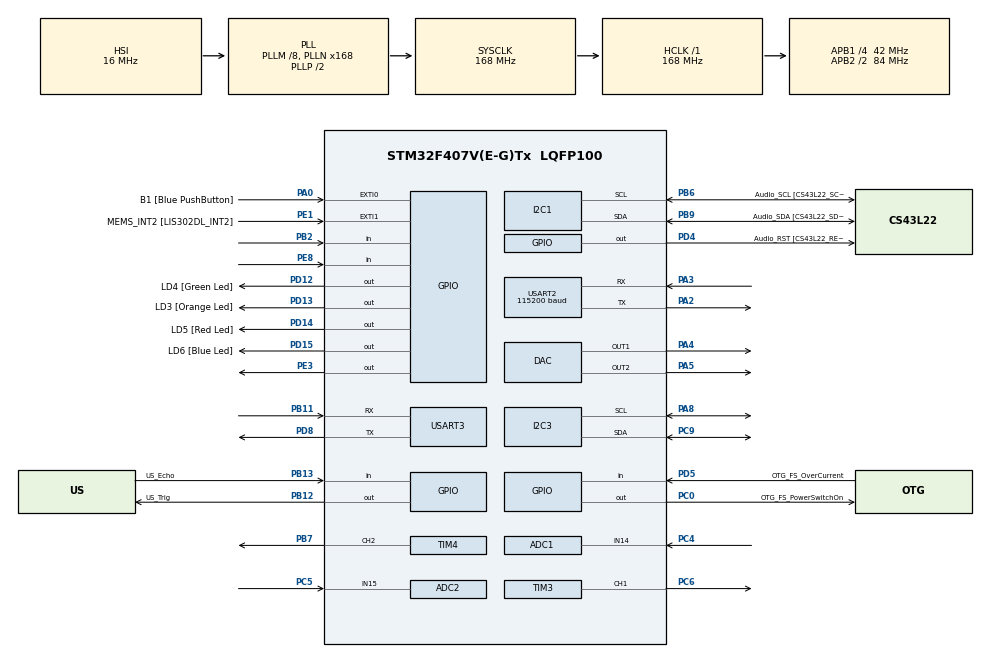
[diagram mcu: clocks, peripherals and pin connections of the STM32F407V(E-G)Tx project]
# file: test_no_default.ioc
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ADC1.Channel-2\#ChannelRegularConversion=ADC_CHANNEL_14
ADC1.ClockPrescaler=ADC_CLOCK_SYNC_PCLK_DIV4
ADC1.NbrOfConversionFlag=1
ADC1.Rank-2\#ChannelRegularConversion=1
ADC1.SamplingTime-2\#ChannelRegularConversion=ADC_SAMPLETIME_3CYCLES
ADC1.master=1
ADC2.Channel-0\#ChannelRegularConversion=ADC_CHANNEL_15
ADC2.ClockPrescaler=ADC_CLOCK_SYNC_PCLK_DIV4
ADC2.NbrOfConversionFlag=1
ADC2.Rank-0\#ChannelRegularConversion=1
ADC2.SamplingTime-0\#ChannelRegularConversion=ADC_SAMPLETIME_3CYCLES
I2C3.DualAddressMode=I2C_DUALADDRESS_DISABLE
I2C3.GeneralCallMode=I2C_GENERALCALL_ENABLE
I2C3.I2C_Mode=I2C_Fast
I2C3.NoStretchMode=I2C_NOSTRETCH_DISABLE
I2C3.OwnAddress=0x10
Mcu.Family=STM32F4
Mcu.Name=STM32F407V(E-G)Tx
Mcu.Package=LQFP100
NVIC.PriorityGroup=NVIC_PRIORITYGROUP_4
PA0-WKUP.GPIO_Label=B1 [Blue PushButton]
PA0-WKUP.Signal=GPXTI0
PA10.GPIO_Label=OTG_FS_ID
PA10.GPIO_Mode=GPIO_MODE_AF_PP
PA10.GPIO_PuPd=GPIO_NOPULL
PA10.GPIO_Speed=GPIO_SPEED_FREQ_LOW
PA10.Signal=USB_OTG_FS_ID
PA11.GPIO_Label=OTG_FS_DM
PA11.GPIO_Mode=GPIO_MODE_AF_PP
PA11.GPIO_PuPd=GPIO_NOPULL
PA11.GPIO_Speed=GPIO_SPEED_FREQ_LOW
PA11.Signal=USB_OTG_FS_DM
PA12.GPIO_Label=OTG_FS_DP
PA12.GPIO_Mode=GPIO_MODE_AF_PP
PA12.GPIO_PuPd=GPIO_NOPULL
PA12.GPIO_Speed=GPIO_SPEED_FREQ_LOW
PA12.Signal=USB_OTG_FS_DP
PA13.GPIO_Label=SWDIO
PA13.Signal=SYS_JTMS-SWDIO
PA14.GPIO_Label=SWCLK
PA14.Signal=SYS_JTCK-SWCLK
PA2.Mode=Asynchronous
PA2.Signal=USART2_TX
PA3.Mode=Asynchronous
PA3.Signal=USART2_RX
PA4.Signal=COMP_DAC1_group
PA5.Signal=COMP_DAC2_group
PA6.GPIO_Label=SPI1_MISO [LIS302DL_SDO]
PA6.GPIO_Mode=GPIO_MODE_AF_PP
PA6.GPIO_PuPd=GPIO_NOPULL
PA6.GPIO_Speed=GPIO_SPEED_FREQ_LOW
PA6.Signal=SPI1_MISO
PA7.GPIO_Label=SPI1_MOSI [LIS302DL_SDA/SDI/SDO]
PA7.GPIO_Mode=GPIO_MODE_AF_PP
PA7.GPIO_PuPd=GPIO_NOPULL
PA7.GPIO_Speed=GPIO_SPEED_FREQ_LOW
PA7.Signal=SPI1_MOSI
PA8.Mode=I2C
PA8.Signal=I2C3_SCL
PA9.GPIO_Label=VBUS_FS
PA9.GPIO_Mode=GPIO_MODE_INPUT
PA9.GPIO_PuPd=GPIO_NOPULL
PA9.Signal=USB_OTG_FS_VBUS
PB10.GPIO_Label=CLK_IN [MP45DT02_CLK]
PB10.GPIO_Mode=GPIO_MODE_AF_PP
PB10.GPIO_PuPd=GPIO_NOPULL
PB10.GPIO_Speed=GPIO_SPEED_FREQ_LOW
PB10.Signal=I2S2_CK
PB11.Mode=Asynchronous
PB11.Signal=USART3_RX
PB12.GPIO_Label=US_Trig
PB12.Signal=GPIO_Output
PB13.GPIO_Label=US_Echo
PB13.Signal=GPIO_Input
PB2.Signal=GPIO_Input
PB3.GPIO_Label=SWO
PB3.Signal=SYS_JTDO-SWO
PB6.GPIO_Label=Audio_SCL [CS43L22_SCL]
PB6.GPIO_Mode=GPIO_MODE_AF_OD
PB6.GPIO_PuPd=GPIO_NOPULL
PB6.GPIO_Speed=GPIO_SPEED_FREQ_LOW
PB6.Mode=I2C
PB6.Signal=I2C1_SCL
PB7.Signal=S_TIM4_CH2
PB9.GPIO_Label=Audio_SDA [CS43L22_SDA]
PB9.GPIO_Mode=GPIO_MODE_AF_OD
PB9.GPIO_PuPd=GPIO_NOPULL
PB9.GPIO_Speed=GPIO_SPEED_FREQ_LOW
PB9.Mode=I2C
PB9.Signal=I2C1_SDA
PC0.GPIO_Label=OTG_FS_PowerSwitchOn
PC0.GPIO_PuPd=GPIO_NOPULL
PC0.GPIO_Speed=GPIO_SPEED_FREQ_LOW
PC0.PinState=GPIO_PIN_SET
PC0.Signal=GPIO_Output
PC10.GPIO_Label=I2S3_SCK [CS43L22_SCLK]
PC10.GPIO_Mode=GPIO_MODE_AF_PP
PC10.GPIO_PuPd=GPIO_NOPULL
PC10.GPIO_Speed=GPIO_SPEED_FREQ_LOW
PC10.Signal=I2S3_CK
PC12.GPIO_Label=I2S3_SD [CS43L22_SDIN]
PC12.GPIO_Mode=GPIO_MODE_AF_PP
PC12.GPIO_PuPd=GPIO_NOPULL
PC12.GPIO_Speed=GPIO_SPEED_FREQ_LOW
PC12.Signal=I2S3_SD
PC14-OSC32_IN.GPIO_Label=PC14-OSC32_IN
PC14-OSC32_IN.Signal=RCC_OSC32_IN
PC15-OSC32_OUT.GPIO_Label=PC15-OSC32_OUT
PC15-OSC32_OUT.Signal=RCC_OSC32_OUT
PC3.GPIO_Label=PDM_OUT [MP45DT02_DOUT]
PC3.GPIO_Mode=GPIO_MODE_AF_PP
PC3.GPIO_PuPd=GPIO_NOPULL
PC3.GPIO_Speed=GPIO_SPEED_FREQ_LOW
PC3.Signal=I2S2_SD
PC4.Signal=ADCx_IN14
PC5.Signal=ADCx_IN15
PC6.Signal=S_TIM3_CH1
PC7.GPIO_Label=I2S3_MCK [CS43L22_MCLK]
PC7.GPIO_Mode=GPIO_MODE_AF_PP
PC7.GPIO_PuPd=GPIO_NOPULL
PC7.GPIO_Speed=GPIO_SPEED_FREQ_LOW
PC7.Signal=I2S3_MCK
PC9.Mode=I2C
PC9.Signal=I2C3_SDA
PD12.GPIO_Label=LD4 [Green Led]
PD12.GPIO_PuPd=GPIO_NOPULL
PD12.GPIO_Speed=GPIO_SPEED_FREQ_LOW
PD12.Signal=GPIO_Output
PD13.GPIO_Label=LD3 [Orange Led]
PD13.GPIO_PuPd=GPIO_NOPULL
PD13.GPIO_Speed=GPIO_SPEED_FREQ_LOW
PD13.Signal=GPIO_Output
PD14.GPIO_Label=LD5 [Red Led]
PD14.GPIO_PuPd=GPIO_NOPULL
PD14.GPIO_Speed=GPIO_SPEED_FREQ_LOW
PD14.Signal=GPIO_Output
PD15.GPIO_Label=LD6 [Blue Led]
PD15.GPIO_PuPd=GPIO_NOPULL
PD15.GPIO_Speed=GPIO_SPEED_FREQ_LOW
PD15.Signal=GPIO_Output
PD4.GPIO_Label=Audio_RST [CS43L22_RESET]
PD4.GPIO_PuPd=GPIO_NOPULL
PD4.GPIO_Speed=GPIO_SPEED_FREQ_LOW
PD4.Signal=GPIO_Output
PD5.GPIO_Label=OTG_FS_OverCurrent
PD5.GPIO_Mode=GPIO_MODE_INPUT
PD5.GPIO_PuPd=GPIO_NOPULL
PD5.Signal=GPIO_Input
PD8.Mode=Asynchronous
PD8.Signal=USART3_TX
PE1.GPIO_Label=MEMS_INT2 [LIS302DL_INT2]
PE1.GPIO_ModeDefaultEXTI=GPIO_MODE_EVT_RISING
PE1.GPIO_PuPd=GPIO_NOPULL
PE1.Signal=GPXTI1
PE3.Signal=GPIO_Output
PE8.GPIO_PuPd=GPIO_PULLDOWN
PE8.Signal=GPIO_Input
PH0-OSC_IN.GPIO_Label=PH0-OSC_IN
PH0-OSC_IN.Signal=RCC_OSC_IN
PH1-OSC_OUT.GPIO_Label=PH1-OSC_OUT
PH1-OSC_OUT.Signal=RCC_OSC_OUT
ProjectManager.HeapSize=0x200
ProjectManager.StackSize=0x400
ProjectManager.TargetToolchain=STM32CubeIDE
RCC.48MHZClocksFreq_Value=48000000
RCC.AHBFreq_Value=168000000
RCC.APB1CLKDivider=RCC_HCLK_DIV4
RCC.APB1Freq_Value=42000000
RCC.APB1TimFreq_Value=84000000
RCC.APB2CLKDivider=RCC_HCLK_DIV2
RCC.APB2Freq_Value=84000000
RCC.APB2TimFreq_Value=168000000
RCC.CortexFreq_Value=168000000
RCC.HCLKFreq_Value=168000000
RCC.HSE_VALUE=8000000
RCC.HSI_VALUE=16000000
RCC.LSE_VALUE=32768
RCC.PLLM=8
RCC.PLLN=168
RCC.PLLQ=7
RCC.SYSCLKFreq_VALUE=168000000
RCC.SYSCLKSource=RCC_SYSCLKSOURCE_PLLCLK
RCC.VCOOutputFreq_Value=336000000
SH.ADCx_IN14.0=ADC1_IN14,IN14
SH.ADCx_IN15.0=ADC2_IN15,IN15
SH.COMP_DAC1_group.0=DAC_OUT1,DAC_OUT1
SH.COMP_DAC2_group.0=DAC_OUT2,DAC_OUT2
SH.S_TIM3_CH1.0=TIM3_CH1,PWM Generation1 CH1
SH.S_TIM4_CH2.0=TIM4_CH2,PWM Generation2 CH2
TIM1.Period=65535
TIM1.Prescaler=168
TIM3.Channel-PWM\ Generation1\ CH1=TIM_CHANNEL_1
TIM3.Period=100
TIM3.Prescaler=80
TIM4.Channel-PWM\ Generation2\ CH2=TIM_CHANNEL_2
TIM4.Period=100
TIM4.Prescaler=12
USART2.BaudRate=115200
USART2.VirtualMode=VM_ASYNC
USART3.VirtualMode=VM_ASYNC
VP_TIM1_VS_ClockSourceINT.Mode=Internal
VP_TIM3_VS_ClockSourceINT.Mode=Internal
VP_TIM4_VS_ClockSourceINT.Mode=Internal
board=STM32F407G-DISC1

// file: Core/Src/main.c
/* USER CODE BEGIN Header */
/**
  ******************************************************************************
  * @file           : main.c
  * @brief          : Main program body
  ******************************************************************************
  * @attention
  *
  * <h2><center>&copy; Copyright (c) 2020 STMicroelectronics.
  * All rights reserved.</center></h2>
  *
  * This software component is licensed by ST under BSD 3-Clause license,
  * the "License"; You may not use this file except in compliance with the
  * License. You may obtain a copy of the License at:
  *                        opensource.org/licenses/BSD-3-Clause
  *
  ******************************************************************************
  */
/* USER CODE END Header */

#include "main.h"

/* USER CODE BEGIN Includes */
#include <string.h>
#include <stdio.h>
/* USER CODE END Includes */

/* USER CODE BEGIN PD */
// ADC
#define ADC_MAX 4096
#define ADC_MIN 0
// PWM (stick)
#define PWM_DUTY_MAX 100
#define STICK_Y_MID 2152
#define STICK_X_MID 2033
#define STICK_MARGIN 250
// H-Bridge GPIOs
#define BRIDGE_GPIO GPIOD
#define BRIDGE_PIN_1 GPIO_PIN_12
#define BRIDGE_PIN_2 GPIO_PIN_13
#define BRIDGE_PIN_3 GPIO_PIN_14
#define BRIDGE_PIN_4 GPIO_PIN_15
/* USER CODE END PD */

ADC_HandleTypeDef hadc1;
ADC_HandleTypeDef hadc2;

DAC_HandleTypeDef hdac;

I2C_HandleTypeDef hi2c1;
I2C_HandleTypeDef hi2c3;

TIM_HandleTypeDef htim1;
TIM_HandleTypeDef htim3;
TIM_HandleTypeDef htim4;

UART_HandleTypeDef huart2;
UART_HandleTypeDef huart3;

/* USER CODE BEGIN PV */
static uint16_t ADC_1, ADC_2; // ADC values
static uint16_t PWM_1, PWM_2; // PWM values (range 0 - 99)
static GPIO_PinState
    BRIDGE_PIN_1_State, BRIDGE_PIN_2_State, BRIDGE_PIN_3_State, BRIDGE_PIN_4_State;
static ESTOP_State Estop;
GPIO_PinState button_state;
/* USER CODE END PV */

void SystemClock_Config(void);
static void MX_GPIO_Init(void);
static void MX_ADC1_Init(void);
static void MX_USART2_UART_Init(void);
static void MX_ADC2_Init(void);
static void MX_I2C1_Init(void);
static void MX_DAC_Init(void);
static void MX_I2C3_Init(void);
static void MX_TIM3_Init(void);
static void MX_TIM4_Init(void);
static void MX_USART3_UART_Init(void);
static void MX_TIM1_Init(void);
/* USER CODE BEGIN PFP */
static void Blink(void);
static uint16_t ADC_Read(ADC_HandleTypeDef*);
static void driving(void);
static void forward(void);
static void backward(void);
static void stop(void);
static void clockwise(void);
static void counterclockwise(void);
static void Delay_us(uint16_t);
static void Reset_Timer_us();
static uint16_t Get_Timer_us();
/* USER CODE END PFP */

/* USER CODE BEGIN 0 */
// FOR DEBUGGING
int CASE;
bool voice = false;
/* USER CODE END 0 */

int main(void)
{
  /* USER CODE BEGIN 1 */
  char msg[30];
  //char msg_1[30]; // for message1
  //char msg_2[30]; // for message2
  //char msg_3[30]; // for message3
  //uint8_t msg_4[30]; // for message4
  //uint8_t cmd[1]; // UART receive cmd

  //bool voice = false;
  /* USER CODE END 1 */

  /* MCU Configuration--------------------------------------------------------*/

  /* Reset of all peripherals, Initializes the Flash interface and the Systick. */
  HAL_Init();

  /* Configure the system clock */
  SystemClock_Config();

  /* Initialize all configured peripherals */
  MX_GPIO_Init();
  MX_ADC1_Init();
  MX_USART2_UART_Init();
  MX_ADC2_Init();
  MX_I2C1_Init();
  MX_DAC_Init();
  MX_I2C3_Init();
  MX_TIM3_Init();
  MX_TIM4_Init();
  MX_USART3_UART_Init();
  MX_TIM1_Init();

  /* Infinite loop */
  /* USER CODE BEGIN WHILE */
  // Start TIM1 (for us delay)
  HAL_TIM_Base_Start(&htim1);

  // Start PWMs
  HAL_TIM_PWM_Start (&htim3, TIM_CHANNEL_1);
  HAL_TIM_PWM_Start (&htim4, TIM_CHANNEL_2);
  while (1)
  {
    uint16_t count;
    uint16_t distance;
    HAL_GPIO_WritePin(GPIOB, US_Trig_Pin, GPIO_PIN_SET);
    Delay_us(10);
    HAL_GPIO_WritePin(GPIOB, US_Trig_Pin, GPIO_PIN_RESET);

    while (HAL_GPIO_ReadPin(GPIOB, US_Echo_Pin) == GPIO_PIN_RESET);
    Reset_Timer_us();
    while ((HAL_GPIO_ReadPin(GPIOB, US_Echo_Pin) == GPIO_PIN_SET) && (Get_Timer_us() < 65535));
    count = Get_Timer_us();
    distance = (float)(0.0343 * count / 2);
    sprintf(msg, "delay = %d us, distance = %d cm\r\n ", count, distance);
    HAL_UART_Transmit(&huart2, (uint8_t*)msg, strlen(msg), HAL_MAX_DELAY);
    HAL_Delay(1000);

    /*
    // Determine driving mode
    button_state = HAL_GPIO_ReadPin(GPIOE, GPIO_PIN_8);
    if (button_state == GPIO_PIN_SET)
    {
      voice = !voice;
    }
//     I2C slave receive
//    HAL_I2C_Slave_Receive (&hi2c3, msg_4, 1, HAL_MAX_DELAY);

    if (!voice)
    {
      // Read ADC value
      ADC_1 = ADC_Read(&hadc1);
      ADC_2 = ADC_Read(&hadc2);

      // Motor controlling logics
      driving();
      HAL_Delay(100);
    }
    else
    {
      HAL_UART_Receive (&huart3, (uint8_t*)cmd, 1, HAL_MAX_DELAY); // receiving message from pi
      if (cmd[0] =='f')
      {
        forward();
      }
      else if (cmd[0] == 'b')
      {
        backward();
      }
      else if (cmd[0] == 'l')
      {
        counterclockwise();
      }
      else if (cmd[0] == 'r')
      {
        clockwise();
      }
      else
      {
        stop();
      }
      PWM_1 = 25;
      PWM_2 = 25;
      // updating GPIO value
      HAL_GPIO_WritePin(BRIDGE_GPIO, BRIDGE_PIN_1, BRIDGE_PIN_1_State);
      HAL_GPIO_WritePin(BRIDGE_GPIO, BRIDGE_PIN_2, BRIDGE_PIN_2_State);
      HAL_GPIO_WritePin(BRIDGE_GPIO, BRIDGE_PIN_3, BRIDGE_PIN_3_State);
      HAL_GPIO_WritePin(BRIDGE_GPIO, BRIDGE_PIN_4, BRIDGE_PIN_4_State);
      // updating PWM value
      __HAL_TIM_SET_COMPARE(&htim3, TIM_CHANNEL_1, PWM_1);
      __HAL_TIM_SET_COMPARE(&htim4, TIM_CHANNEL_2, PWM_2);
    }

    // UART transmit debugging messages
    //sprintf(msg_1, "ADC1 = %hu, ADC2 = %hu\r\n", ADC_1, ADC_2);
    //sprintf(msg_2, "PWM1 = %hu, PWM2 = %hu\r\n", PWM_1, PWM_2);
    //sprintf(msg_3, "CASE = %d\r\n\r\n", CASE);
    //HAL_UART_Transmit(&huart2, (uint8_t*)msg_1, strlen(msg_1), HAL_MAX_DELAY);
    //HAL_UART_Transmit(&huart2, (uint8_t*)msg_2, strlen(msg_2), HAL_MAX_DELAY);
    //HAL_UART_Transmit(&huart2, (uint8_t*)msg_3, strlen(msg_3), HAL_MAX_DELAY);
    //HAL_UART_Transmit(&huart2, (uint8_t*)msg_4, strlen(msg_4), HAL_MAX_DELAY);
    //HAL_UART_Receive (&huart3, (uint8_t*)msg_5, 1, HAL_MAX_DELAY); // receiving message from pi
    //HAL_UART_Receive (&huart2, (uint8_t*)msg_5, 4, 1); // bluetooth debugging
    //printf("%s\r\n", msg_5);
    //HAL_UART_Transmit(&huart2, (uint8_t*)msg_5, 4, 1); // bluetooth debugging

    // I2C transmit debugging messages
    // HAL_I2C_Slave_Transmit (&hi2c3, (uint8_t*)msg_1, strlen(msg_1), HAL_MAX_DELAY);

    // Delay
    //HAL_Delay(100);

    /* USER CODE END WHILE */

  }
}

void SystemClock_Config(void)
{
  RCC_OscInitTypeDef RCC_OscInitStruct = {0};
  RCC_ClkInitTypeDef RCC_ClkInitStruct = {0};

  /** Configure the main internal regulator output voltage
  */
  __HAL_RCC_PWR_CLK_ENABLE();
  __HAL_PWR_VOLTAGESCALING_CONFIG(PWR_REGULATOR_VOLTAGE_SCALE1);
  /** Initializes the CPU, AHB and APB busses clocks
  */
  RCC_OscInitStruct.OscillatorType = RCC_OSCILLATORTYPE_HSI;
  RCC_OscInitStruct.HSIState = RCC_HSI_ON;
  RCC_OscInitStruct.HSICalibrationValue = RCC_HSICALIBRATION_DEFAULT;
  RCC_OscInitStruct.PLL.PLLState = RCC_PLL_ON;
  RCC_OscInitStruct.PLL.PLLSource = RCC_PLLSOURCE_HSI;
  RCC_OscInitStruct.PLL.PLLM = 8;
  RCC_OscInitStruct.PLL.PLLN = 168;
  RCC_OscInitStruct.PLL.PLLP = RCC_PLLP_DIV2;
  RCC_OscInitStruct.PLL.PLLQ = 7;
  if (HAL_RCC_OscConfig(&RCC_OscInitStruct) != HAL_OK)
  {
    Error_Handler();
  }
  /** Initializes the CPU, AHB and APB busses clocks
  */
  RCC_ClkInitStruct.ClockType = RCC_CLOCKTYPE_HCLK|RCC_CLOCKTYPE_SYSCLK
                              |RCC_CLOCKTYPE_PCLK1|RCC_CLOCKTYPE_PCLK2;
  RCC_ClkInitStruct.SYSCLKSource = RCC_SYSCLKSOURCE_PLLCLK;
  RCC_ClkInitStruct.AHBCLKDivider = RCC_SYSCLK_DIV1;
  RCC_ClkInitStruct.APB1CLKDivider = RCC_HCLK_DIV4;
  RCC_ClkInitStruct.APB2CLKDivider = RCC_HCLK_DIV2;

  if (HAL_RCC_ClockConfig(&RCC_ClkInitStruct, FLASH_LATENCY_5) != HAL_OK)
  {
    Error_Handler();
  }
}

static void MX_ADC1_Init(void)
{

  ADC_ChannelConfTypeDef sConfig = {0};

  /** Configure the global features of the ADC (Clock, Resolution, Data Alignment and number of conversion)
  */
  hadc1.Instance = ADC1;
  hadc1.Init.ClockPrescaler = ADC_CLOCK_SYNC_PCLK_DIV4;
  hadc1.Init.Resolution = ADC_RESOLUTION_12B;
  hadc1.Init.ScanConvMode = DISABLE;
  hadc1.Init.ContinuousConvMode = DISABLE;
  hadc1.Init.DiscontinuousConvMode = DISABLE;
  hadc1.Init.ExternalTrigConvEdge = ADC_EXTERNALTRIGCONVEDGE_NONE;
  hadc1.Init.ExternalTrigConv = ADC_SOFTWARE_START;
  hadc1.Init.DataAlign = ADC_DATAALIGN_RIGHT;
  hadc1.Init.NbrOfConversion = 1;
  hadc1.Init.DMAContinuousRequests = DISABLE;
  hadc1.Init.EOCSelection = ADC_EOC_SINGLE_CONV;
  if (HAL_ADC_Init(&hadc1) != HAL_OK)
  {
    Error_Handler();
  }
  /** Configure for the selected ADC regular channel its corresponding rank in the sequencer and its sample time.
  */
  sConfig.Channel = ADC_CHANNEL_14;
  sConfig.Rank = 1;
  sConfig.SamplingTime = ADC_SAMPLETIME_3CYCLES;
  if (HAL_ADC_ConfigChannel(&hadc1, &sConfig) != HAL_OK)
  {
    Error_Handler();
  }

}

static void MX_ADC2_Init(void)
{

  ADC_ChannelConfTypeDef sConfig = {0};

  /** Configure the global features of the ADC (Clock, Resolution, Data Alignment and number of conversion)
  */
  hadc2.Instance = ADC2;
  hadc2.Init.ClockPrescaler = ADC_CLOCK_SYNC_PCLK_DIV4;
  hadc2.Init.Resolution = ADC_RESOLUTION_12B;
  hadc2.Init.ScanConvMode = DISABLE;
  hadc2.Init.ContinuousConvMode = DISABLE;
  hadc2.Init.DiscontinuousConvMode = DISABLE;
  hadc2.Init.ExternalTrigConvEdge = ADC_EXTERNALTRIGCONVEDGE_NONE;
  hadc2.Init.ExternalTrigConv = ADC_SOFTWARE_START;
  hadc2.Init.DataAlign = ADC_DATAALIGN_RIGHT;
  hadc2.Init.NbrOfConversion = 1;
  hadc2.Init.DMAContinuousRequests = DISABLE;
  hadc2.Init.EOCSelection = ADC_EOC_SINGLE_CONV;
  if (HAL_ADC_Init(&hadc2) != HAL_OK)
  {
    Error_Handler();
  }
  /** Configure for the selected ADC regular channel its corresponding rank in the sequencer and its sample time.
  */
  sConfig.Channel = ADC_CHANNEL_15;
  sConfig.Rank = 1;
  sConfig.SamplingTime = ADC_SAMPLETIME_3CYCLES;
  if (HAL_ADC_ConfigChannel(&hadc2, &sConfig) != HAL_OK)
  {
    Error_Handler();
  }

}

static void MX_DAC_Init(void)
{

  DAC_ChannelConfTypeDef sConfig = {0};

  /** DAC Initialization
  */
  hdac.Instance = DAC;
  if (HAL_DAC_Init(&hdac) != HAL_OK)
  {
    Error_Handler();
  }
  /** DAC channel OUT1 config
  */
  sConfig.DAC_Trigger = DAC_TRIGGER_NONE;
  sConfig.DAC_OutputBuffer = DAC_OUTPUTBUFFER_ENABLE;
  if (HAL_DAC_ConfigChannel(&hdac, &sConfig, DAC_CHANNEL_1) != HAL_OK)
  {
    Error_Handler();
  }
  /** DAC channel OUT2 config
  */
  if (HAL_DAC_ConfigChannel(&hdac, &sConfig, DAC_CHANNEL_2) != HAL_OK)
  {
    Error_Handler();
  }

}

static void MX_I2C1_Init(void)
{

  hi2c1.Instance = I2C1;
  hi2c1.Init.ClockSpeed = 100000;
  hi2c1.Init.DutyCycle = I2C_DUTYCYCLE_2;
  hi2c1.Init.OwnAddress1 = 0;
  hi2c1.Init.AddressingMode = I2C_ADDRESSINGMODE_7BIT;
  hi2c1.Init.DualAddressMode = I2C_DUALADDRESS_DISABLE;
  hi2c1.Init.OwnAddress2 = 0;
  hi2c1.Init.GeneralCallMode = I2C_GENERALCALL_DISABLE;
  hi2c1.Init.NoStretchMode = I2C_NOSTRETCH_DISABLE;
  if (HAL_I2C_Init(&hi2c1) != HAL_OK)
  {
    Error_Handler();
  }

}

static void MX_I2C3_Init(void)
{

  hi2c3.Instance = I2C3;
  hi2c3.Init.ClockSpeed = 400000;
  hi2c3.Init.DutyCycle = I2C_DUTYCYCLE_2;
  hi2c3.Init.OwnAddress1 = 32;
  hi2c3.Init.AddressingMode = I2C_ADDRESSINGMODE_7BIT;
  hi2c3.Init.DualAddressMode = I2C_DUALADDRESS_DISABLE;
  hi2c3.Init.OwnAddress2 = 0;
  hi2c3.Init.GeneralCallMode = I2C_GENERALCALL_ENABLE;
  hi2c3.Init.NoStretchMode = I2C_NOSTRETCH_DISABLE;
  if (HAL_I2C_Init(&hi2c3) != HAL_OK)
  {
    Error_Handler();
  }

}

static void MX_TIM1_Init(void)
{

  TIM_ClockConfigTypeDef sClockSourceConfig = {0};
  TIM_MasterConfigTypeDef sMasterConfig = {0};

  htim1.Instance = TIM1;
  htim1.Init.Prescaler = 168;
  htim1.Init.CounterMode = TIM_COUNTERMODE_UP;
  htim1.Init.Period = 65535;
  htim1.Init.ClockDivision = TIM_CLOCKDIVISION_DIV1;
  htim1.Init.RepetitionCounter = 0;
  htim1.Init.AutoReloadPreload = TIM_AUTORELOAD_PRELOAD_DISABLE;
  if (HAL_TIM_Base_Init(&htim1) != HAL_OK)
  {
    Error_Handler();
  }
  sClockSourceConfig.ClockSource = TIM_CLOCKSOURCE_INTERNAL;
  if (HAL_TIM_ConfigClockSource(&htim1, &sClockSourceConfig) != HAL_OK)
  {
    Error_Handler();
  }
  sMasterConfig.MasterOutputTrigger = TIM_TRGO_RESET;
  sMasterConfig.MasterSlaveMode = TIM_MASTERSLAVEMODE_DISABLE;
  if (HAL_TIMEx_MasterConfigSynchronization(&htim1, &sMasterConfig) != HAL_OK)
  {
    Error_Handler();
  }

}

static void MX_TIM3_Init(void)
{

  TIM_ClockConfigTypeDef sClockSourceConfig = {0};
  TIM_MasterConfigTypeDef sMasterConfig = {0};
  TIM_OC_InitTypeDef sConfigOC = {0};

  htim3.Instance = TIM3;
  htim3.Init.Prescaler = 80;
  htim3.Init.CounterMode = TIM_COUNTERMODE_UP;
  htim3.Init.Period = 100;
  htim3.Init.ClockDivision = TIM_CLOCKDIVISION_DIV1;
  htim3.Init.AutoReloadPreload = TIM_AUTORELOAD_PRELOAD_DISABLE;
  if (HAL_TIM_Base_Init(&htim3) != HAL_OK)
  {
    Error_Handler();
  }
  sClockSourceConfig.ClockSource = TIM_CLOCKSOURCE_INTERNAL;
  if (HAL_TIM_ConfigClockSource(&htim3, &sClockSourceConfig) != HAL_OK)
  {
    Error_Handler();
  }
  if (HAL_TIM_PWM_Init(&htim3) != HAL_OK)
  {
    Error_Handler();
  }
  sMasterConfig.MasterOutputTrigger = TIM_TRGO_RESET;
  sMasterConfig.MasterSlaveMode = TIM_MASTERSLAVEMODE_DISABLE;
  if (HAL_TIMEx_MasterConfigSynchronization(&htim3, &sMasterConfig) != HAL_OK)
  {
    Error_Handler();
  }
  sConfigOC.OCMode = TIM_OCMODE_PWM1;
  sConfigOC.Pulse = 0;
  sConfigOC.OCPolarity = TIM_OCPOLARITY_HIGH;
  sConfigOC.OCFastMode = TIM_OCFAST_DISABLE;
  if (HAL_TIM_PWM_ConfigChannel(&htim3, &sConfigOC, TIM_CHANNEL_1) != HAL_OK)
  {
    Error_Handler();
  }
  HAL_TIM_MspPostInit(&htim3);

}

static void MX_TIM4_Init(void)
{

  TIM_ClockConfigTypeDef sClockSourceConfig = {0};
  TIM_MasterConfigTypeDef sMasterConfig = {0};
  TIM_OC_InitTypeDef sConfigOC = {0};

  htim4.Instance = TIM4;
  htim4.Init.Prescaler = 12;
  htim4.Init.CounterMode = TIM_COUNTERMODE_UP;
  htim4.Init.Period = 100;
  htim4.Init.ClockDivision = TIM_CLOCKDIVISION_DIV1;
  htim4.Init.AutoReloadPreload = TIM_AUTORELOAD_PRELOAD_DISABLE;
  if (HAL_TIM_Base_Init(&htim4) != HAL_OK)
  {
    Error_Handler();
  }
  sClockSourceConfig.ClockSource = TIM_CLOCKSOURCE_INTERNAL;
  if (HAL_TIM_ConfigClockSource(&htim4, &sClockSourceConfig) != HAL_OK)
  {
    Error_Handler();
  }
  if (HAL_TIM_PWM_Init(&htim4) != HAL_OK)
  {
    Error_Handler();
  }
  sMasterConfig.MasterOutputTrigger = TIM_TRGO_RESET;
  sMasterConfig.MasterSlaveMode = TIM_MASTERSLAVEMODE_DISABLE;
  if (HAL_TIMEx_MasterConfigSynchronization(&htim4, &sMasterConfig) != HAL_OK)
  {
    Error_Handler();
  }
  sConfigOC.OCMode = TIM_OCMODE_PWM1;
  sConfigOC.Pulse = 0;
  sConfigOC.OCPolarity = TIM_OCPOLARITY_HIGH;
  sConfigOC.OCFastMode = TIM_OCFAST_DISABLE;
  if (HAL_TIM_PWM_ConfigChannel(&htim4, &sConfigOC, TIM_CHANNEL_2) != HAL_OK)
  {
    Error_Handler();
  }
  HAL_TIM_MspPostInit(&htim4);

}

static void MX_USART2_UART_Init(void)
{

  huart2.Instance = USART2;
  huart2.Init.BaudRate = 115200;
  huart2.Init.WordLength = UART_WORDLENGTH_8B;
  huart2.Init.StopBits = UART_STOPBITS_1;
  huart2.Init.Parity = UART_PARITY_NONE;
  huart2.Init.Mode = UART_MODE_TX_RX;
  huart2.Init.HwFlowCtl = UART_HWCONTROL_NONE;
  huart2.Init.OverSampling = UART_OVERSAMPLING_16;
  if (HAL_UART_Init(&huart2) != HAL_OK)
  {
    Error_Handler();
  }

}

static void MX_USART3_UART_Init(void)
{

  huart3.Instance = USART3;
  huart3.Init.BaudRate = 115200;
  huart3.Init.WordLength = UART_WORDLENGTH_8B;
  huart3.Init.StopBits = UART_STOPBITS_1;
  huart3.Init.Parity = UART_PARITY_NONE;
  huart3.Init.Mode = UART_MODE_TX_RX;
  huart3.Init.HwFlowCtl = UART_HWCONTROL_NONE;
  huart3.Init.OverSampling = UART_OVERSAMPLING_16;
  if (HAL_UART_Init(&huart3) != HAL_OK)
  {
    Error_Handler();
  }

}

static void MX_GPIO_Init(void)
{
  GPIO_InitTypeDef GPIO_InitStruct = {0};

  /* GPIO Ports Clock Enable */
  __HAL_RCC_GPIOE_CLK_ENABLE();
  __HAL_RCC_GPIOC_CLK_ENABLE();
  __HAL_RCC_GPIOH_CLK_ENABLE();
  __HAL_RCC_GPIOA_CLK_ENABLE();
  __HAL_RCC_GPIOB_CLK_ENABLE();
  __HAL_RCC_GPIOD_CLK_ENABLE();

  /*Configure GPIO pin Output Level */
  HAL_GPIO_WritePin(GPIOE, GPIO_PIN_3, GPIO_PIN_RESET);

  /*Configure GPIO pin Output Level */
  HAL_GPIO_WritePin(OTG_FS_PowerSwitchOn_GPIO_Port, OTG_FS_PowerSwitchOn_Pin, GPIO_PIN_SET);

  /*Configure GPIO pin Output Level */
  HAL_GPIO_WritePin(US_Trig_GPIO_Port, US_Trig_Pin, GPIO_PIN_RESET);

  /*Configure GPIO pin Output Level */
  HAL_GPIO_WritePin(GPIOD, LD4_Pin|LD3_Pin|LD5_Pin|LD6_Pin
                          |Audio_RST_Pin, GPIO_PIN_RESET);

  /*Configure GPIO pin : PE3 */
  GPIO_InitStruct.Pin = GPIO_PIN_3;
  GPIO_InitStruct.Mode = GPIO_MODE_OUTPUT_PP;
  GPIO_InitStruct.Pull = GPIO_NOPULL;
  GPIO_InitStruct.Speed = GPIO_SPEED_FREQ_LOW;
  HAL_GPIO_Init(GPIOE, &GPIO_InitStruct);

  /*Configure GPIO pin : OTG_FS_PowerSwitchOn_Pin */
  GPIO_InitStruct.Pin = OTG_FS_PowerSwitchOn_Pin;
  GPIO_InitStruct.Mode = GPIO_MODE_OUTPUT_PP;
  GPIO_InitStruct.Pull = GPIO_NOPULL;
  GPIO_InitStruct.Speed = GPIO_SPEED_FREQ_LOW;
  HAL_GPIO_Init(OTG_FS_PowerSwitchOn_GPIO_Port, &GPIO_InitStruct);

  /*Configure GPIO pin : PDM_OUT_Pin */
  GPIO_InitStruct.Pin = PDM_OUT_Pin;
  GPIO_InitStruct.Mode = GPIO_MODE_AF_PP;
  GPIO_InitStruct.Pull = GPIO_NOPULL;
  GPIO_InitStruct.Speed = GPIO_SPEED_FREQ_LOW;
  GPIO_InitStruct.Alternate = GPIO_AF5_SPI2;
  HAL_GPIO_Init(PDM_OUT_GPIO_Port, &GPIO_InitStruct);

  /*Configure GPIO pin : B1_Pin */
  GPIO_InitStruct.Pin = B1_Pin;
  GPIO_InitStruct.Mode = GPIO_MODE_IT_RISING;
  GPIO_InitStruct.Pull = GPIO_NOPULL;
  HAL_GPIO_Init(B1_GPIO_Port, &GPIO_InitStruct);

  /*Configure GPIO pins : SPI1_MISO_Pin SPI1_MOSI_Pin */
  GPIO_InitStruct.Pin = SPI1_MISO_Pin|SPI1_MOSI_Pin;
  GPIO_InitStruct.Mode = GPIO_MODE_AF_PP;
  GPIO_InitStruct.Pull = GPIO_NOPULL;
  GPIO_InitStruct.Speed = GPIO_SPEED_FREQ_LOW;
  GPIO_InitStruct.Alternate = GPIO_AF5_SPI1;
  HAL_GPIO_Init(GPIOA, &GPIO_InitStruct);

  /*Configure GPIO pins : PB2 US_Echo_Pin */
  GPIO_InitStruct.Pin = GPIO_PIN_2|US_Echo_Pin;
  GPIO_InitStruct.Mode = GPIO_MODE_INPUT;
  GPIO_InitStruct.Pull = GPIO_NOPULL;
  HAL_GPIO_Init(GPIOB, &GPIO_InitStruct);

  /*Configure GPIO pin : PE8 */
  GPIO_InitStruct.Pin = GPIO_PIN_8;
  GPIO_InitStruct.Mode = GPIO_MODE_INPUT;
  GPIO_InitStruct.Pull = GPIO_PULLDOWN;
  HAL_GPIO_Init(GPIOE, &GPIO_InitStruct);

  /*Configure GPIO pin : CLK_IN_Pin */
  GPIO_InitStruct.Pin = CLK_IN_Pin;
  GPIO_InitStruct.Mode = GPIO_MODE_AF_PP;
  GPIO_InitStruct.Pull = GPIO_NOPULL;
  GPIO_InitStruct.Speed = GPIO_SPEED_FREQ_LOW;
  GPIO_InitStruct.Alternate = GPIO_AF5_SPI2;
  HAL_GPIO_Init(CLK_IN_GPIO_Port, &GPIO_InitStruct);

  /*Configure GPIO pin : US_Trig_Pin */
  GPIO_InitStruct.Pin = US_Trig_Pin;
  GPIO_InitStruct.Mode = GPIO_MODE_OUTPUT_PP;
  GPIO_InitStruct.Pull = GPIO_NOPULL;
  GPIO_InitStruct.Speed = GPIO_SPEED_FREQ_LOW;
  HAL_GPIO_Init(US_Trig_GPIO_Port, &GPIO_InitStruct);

  /*Configure GPIO pins : LD4_Pin LD3_Pin LD5_Pin LD6_Pin
                           Audio_RST_Pin */
  GPIO_InitStruct.Pin = LD4_Pin|LD3_Pin|LD5_Pin|LD6_Pin
                          |Audio_RST_Pin;
  GPIO_InitStruct.Mode = GPIO_MODE_OUTPUT_PP;
  GPIO_InitStruct.Pull = GPIO_NOPULL;
  GPIO_InitStruct.Speed = GPIO_SPEED_FREQ_LOW;
  HAL_GPIO_Init(GPIOD, &GPIO_InitStruct);

  /*Configure GPIO pins : I2S3_MCK_Pin I2S3_SCK_Pin I2S3_SD_Pin */
  GPIO_InitStruct.Pin = I2S3_MCK_Pin|I2S3_SCK_Pin|I2S3_SD_Pin;
  GPIO_InitStruct.Mode = GPIO_MODE_AF_PP;
  GPIO_InitStruct.Pull = GPIO_NOPULL;
  GPIO_InitStruct.Speed = GPIO_SPEED_FREQ_LOW;
  GPIO_InitStruct.Alternate = GPIO_AF6_SPI3;
  HAL_GPIO_Init(GPIOC, &GPIO_InitStruct);

  /*Configure GPIO pin : VBUS_FS_Pin */
  GPIO_InitStruct.Pin = VBUS_FS_Pin;
  GPIO_InitStruct.Mode = GPIO_MODE_INPUT;
  GPIO_InitStruct.Pull = GPIO_NOPULL;
  HAL_GPIO_Init(VBUS_FS_GPIO_Port, &GPIO_InitStruct);

  /*Configure GPIO pins : OTG_FS_ID_Pin OTG_FS_DM_Pin OTG_FS_DP_Pin */
  GPIO_InitStruct.Pin = OTG_FS_ID_Pin|OTG_FS_DM_Pin|OTG_FS_DP_Pin;
  GPIO_InitStruct.Mode = GPIO_MODE_AF_PP;
  GPIO_InitStruct.Pull = GPIO_NOPULL;
  GPIO_InitStruct.Speed = GPIO_SPEED_FREQ_LOW;
  GPIO_InitStruct.Alternate = GPIO_AF10_OTG_FS;
  HAL_GPIO_Init(GPIOA, &GPIO_InitStruct);

  /*Configure GPIO pin : OTG_FS_OverCurrent_Pin */
  GPIO_InitStruct.Pin = OTG_FS_OverCurrent_Pin;
  GPIO_InitStruct.Mode = GPIO_MODE_INPUT;
  GPIO_InitStruct.Pull = GPIO_NOPULL;
  HAL_GPIO_Init(OTG_FS_OverCurrent_GPIO_Port, &GPIO_InitStruct);

  /*Configure GPIO pin : MEMS_INT2_Pin */
  GPIO_InitStruct.Pin = MEMS_INT2_Pin;
  GPIO_InitStruct.Mode = GPIO_MODE_EVT_RISING;
  GPIO_InitStruct.Pull = GPIO_NOPULL;
  HAL_GPIO_Init(MEMS_INT2_GPIO_Port, &GPIO_InitStruct);

}

/* USER CODE BEGIN 4 */
/**
  * @brief Blink LED
  * @param None
  * @retval None
  */
static void Blink(void)
{
  HAL_GPIO_TogglePin(GPIOD, GPIO_PIN_12);
  HAL_GPIO_TogglePin(GPIOD, GPIO_PIN_13);
  HAL_GPIO_TogglePin(GPIOD, GPIO_PIN_14);
  HAL_GPIO_TogglePin(GPIOD, GPIO_PIN_15);
  HAL_Delay(10);
}

/**
 *  @brief Read ADC value
 *  @param pointer to ADC handler
 *  @retval ADC value
 */
static uint16_t ADC_Read(ADC_HandleTypeDef* handler)
{
  HAL_ADC_Start(handler);
  HAL_ADC_PollForConversion(handler, HAL_MAX_DELAY);
  return HAL_ADC_GetValue(handler);
}

/**
 *  @brief Convert ADC readings to driving direction (GPIO)
 *  @param None
 *  @retval None
 */
static void driving(void)
{
  if (ADC_1 < (STICK_Y_MID - STICK_MARGIN)) // y is 0
  {
  	// Case I, II, or III
  	forward();
  }
  else if (ADC_1 > (STICK_Y_MID + STICK_MARGIN))
  {
  	// Case VII, VIII, or IX
  	backward();
  }
  else
  {
    if (ADC_2 > (STICK_X_MID + STICK_MARGIN))
    {
	    // Case IV
    	counterclockwise();
    	CASE = 4;
    }
    else if (ADC_2 < (STICK_X_MID - STICK_MARGIN))
    {
	    // Case VI
    	clockwise();
    	CASE = 6;
    }
    else
    {
      // Case V
      stop();
      CASE = 5;
    }
  }
  // updating GPIO value
  HAL_GPIO_WritePin(BRIDGE_GPIO, BRIDGE_PIN_1, BRIDGE_PIN_1_State);
  HAL_GPIO_WritePin(BRIDGE_GPIO, BRIDGE_PIN_2, BRIDGE_PIN_2_State);
  HAL_GPIO_WritePin(BRIDGE_GPIO, BRIDGE_PIN_3, BRIDGE_PIN_3_State);
  HAL_GPIO_WritePin(BRIDGE_GPIO, BRIDGE_PIN_4, BRIDGE_PIN_4_State);
  // updating PWM value
  __HAL_TIM_SET_COMPARE(&htim3, TIM_CHANNEL_1, PWM_1);
  __HAL_TIM_SET_COMPARE(&htim4, TIM_CHANNEL_2, PWM_2);
}

/**
 * 	@brief Driving control case I, IV, VII: forward and/or turn
 * 	@param None
 * 	@retval None
 */
static void forward()
{
	// motor direction
	BRIDGE_PIN_1_State = GPIO_PIN_SET;
	BRIDGE_PIN_2_State = GPIO_PIN_RESET;
	BRIDGE_PIN_3_State = GPIO_PIN_SET;
	BRIDGE_PIN_4_State = GPIO_PIN_RESET;
	// PWM Mapping
	float PosY_Percent =
	    (float)(STICK_Y_MID - ADC_1) / STICK_Y_MID * PWM_DUTY_MAX;
	if (ADC_2 > (STICK_X_MID + STICK_MARGIN))
	{
	  // Case I
    PWM_2 = PosY_Percent;
    PWM_1 = (float)(ADC_MAX - ADC_2) / (ADC_MAX - STICK_X_MID) * PWM_2;
    CASE = 1;
	}
	else if (ADC_2 < (STICK_X_MID - STICK_MARGIN))
	{
	  // Case III
	  PWM_1 = PosY_Percent;
    PWM_2 = (float)ADC_2 / STICK_X_MID * PWM_1;
    CASE = 3;
	}
	else
	{
	  // Case II
	  PWM_1 = PosY_Percent;
	  PWM_2 = PWM_1;
	  CASE = 2;
	}
}

/**
 * 	@brief Driving control case III, VI, IX: backward and/or turn
 * 	@param None
 * 	@retval None
 */
static void backward()
{
	// motor direction
	BRIDGE_PIN_1_State = GPIO_PIN_RESET;
  BRIDGE_PIN_2_State = GPIO_PIN_SET;
  BRIDGE_PIN_3_State = GPIO_PIN_RESET;
  BRIDGE_PIN_4_State = GPIO_PIN_SET;
	// PWM Mapping
	float NegY_Percent =
	    (float)(ADC_1 - STICK_Y_MID) / (ADC_MAX - STICK_Y_MID) * PWM_DUTY_MAX;
  if (ADC_2 > (STICK_X_MID + STICK_MARGIN))
  {
    // Case VII
    PWM_2 = NegY_Percent;
    PWM_1 = (float)(ADC_MAX - ADC_2) / (ADC_MAX - STICK_X_MID) * PWM_DUTY_MAX;
    CASE = 7;
  }
  else if (ADC_2 < (STICK_X_MID - STICK_MARGIN))
  {
    // Case IX
    PWM_1 = NegY_Percent;
    PWM_2 = (float)ADC_2 / STICK_X_MID * PWM_DUTY_MAX;
    CASE = 9;
  }
  else
  {
    // Case VIII
    PWM_1 = NegY_Percent;
    PWM_2 = PWM_1;
    CASE = 8;
  }
}

/**
 *  @brief Driving control case V: stop
 *  @param None
 *  @retval None
 */
static void stop()
{
	// motor direction
	BRIDGE_PIN_1_State = GPIO_PIN_RESET;
  BRIDGE_PIN_2_State = GPIO_PIN_RESET;
  BRIDGE_PIN_3_State = GPIO_PIN_RESET;
  BRIDGE_PIN_4_State = GPIO_PIN_RESET;
	// PWM mapping
	PWM_1 = 0;
	PWM_2 = 0;
}

/**
 *  @brief Driving control case VII: rotate clockwise
 *  @param None
 *  @retval None
 */
static void clockwise()
{
	// motor direction
	BRIDGE_PIN_1_State = GPIO_PIN_SET;
  BRIDGE_PIN_2_State = GPIO_PIN_RESET;
  BRIDGE_PIN_3_State = GPIO_PIN_RESET;
  BRIDGE_PIN_4_State = GPIO_PIN_SET;
	// PWM mapping
	PWM_1 = (float)(STICK_Y_MID - ADC_2) / STICK_Y_MID * PWM_DUTY_MAX;
	PWM_2 = PWM_1;
}

/**
 *  @brief Driving control case II: rotate counter-clockwise
 *  @param None
 *  @retval None
 */
static void counterclockwise()
{
	// motor direction
	BRIDGE_PIN_1_State = GPIO_PIN_RESET;
  BRIDGE_PIN_2_State = GPIO_PIN_SET;
  BRIDGE_PIN_3_State = GPIO_PIN_SET;
  BRIDGE_PIN_4_State = GPIO_PIN_RESET;
	// PWM mapping
	PWM_1 = (float)(ADC_2 - STICK_Y_MID) / (ADC_MAX - STICK_Y_MID) * PWM_DUTY_MAX;
	PWM_2 = PWM_1;
}

static void Delay_us(uint16_t delay)
{
  __HAL_TIM_SET_COUNTER (&htim1, 0);
  while (__HAL_TIM_GET_COUNTER(&htim1) < delay);
}

static void Reset_Timer_us(){
  __HAL_TIM_SET_COUNTER (&htim1, 0);
}

static uint16_t Get_Timer_us()
{
  __HAL_TIM_GET_COUNTER(&htim1);
}

// DAC output (could be used for LEDs later)
//	HAL_DAC_Start (&hdac, DAC_CHANNEL_1);
//	HAL_DAC_Start (&hdac, DAC_CHANNEL_2);
//	HAL_DAC_SetValue (&hdac, DAC_CHANNEL_1, DAC_ALIGN_12B_R, (uint32_t)raw_1);
//	HAL_DAC_SetValue (&hdac, DAC_CHANNEL_2, DAC_ALIGN_12B_R, (uint32_t)raw_2);
//	DAC_1 = HAL_DAC_GetValue (&hdac, DAC_CHANNEL_1);
//	DAC_2 = HAL_DAC_GetValue (&hdac, DAC_CHANNEL_2);

/* USER CODE END 4 */

void Error_Handler(void)
{
}

/************************ (C) COPYRIGHT STMicroelectronics *****END OF FILE****/
